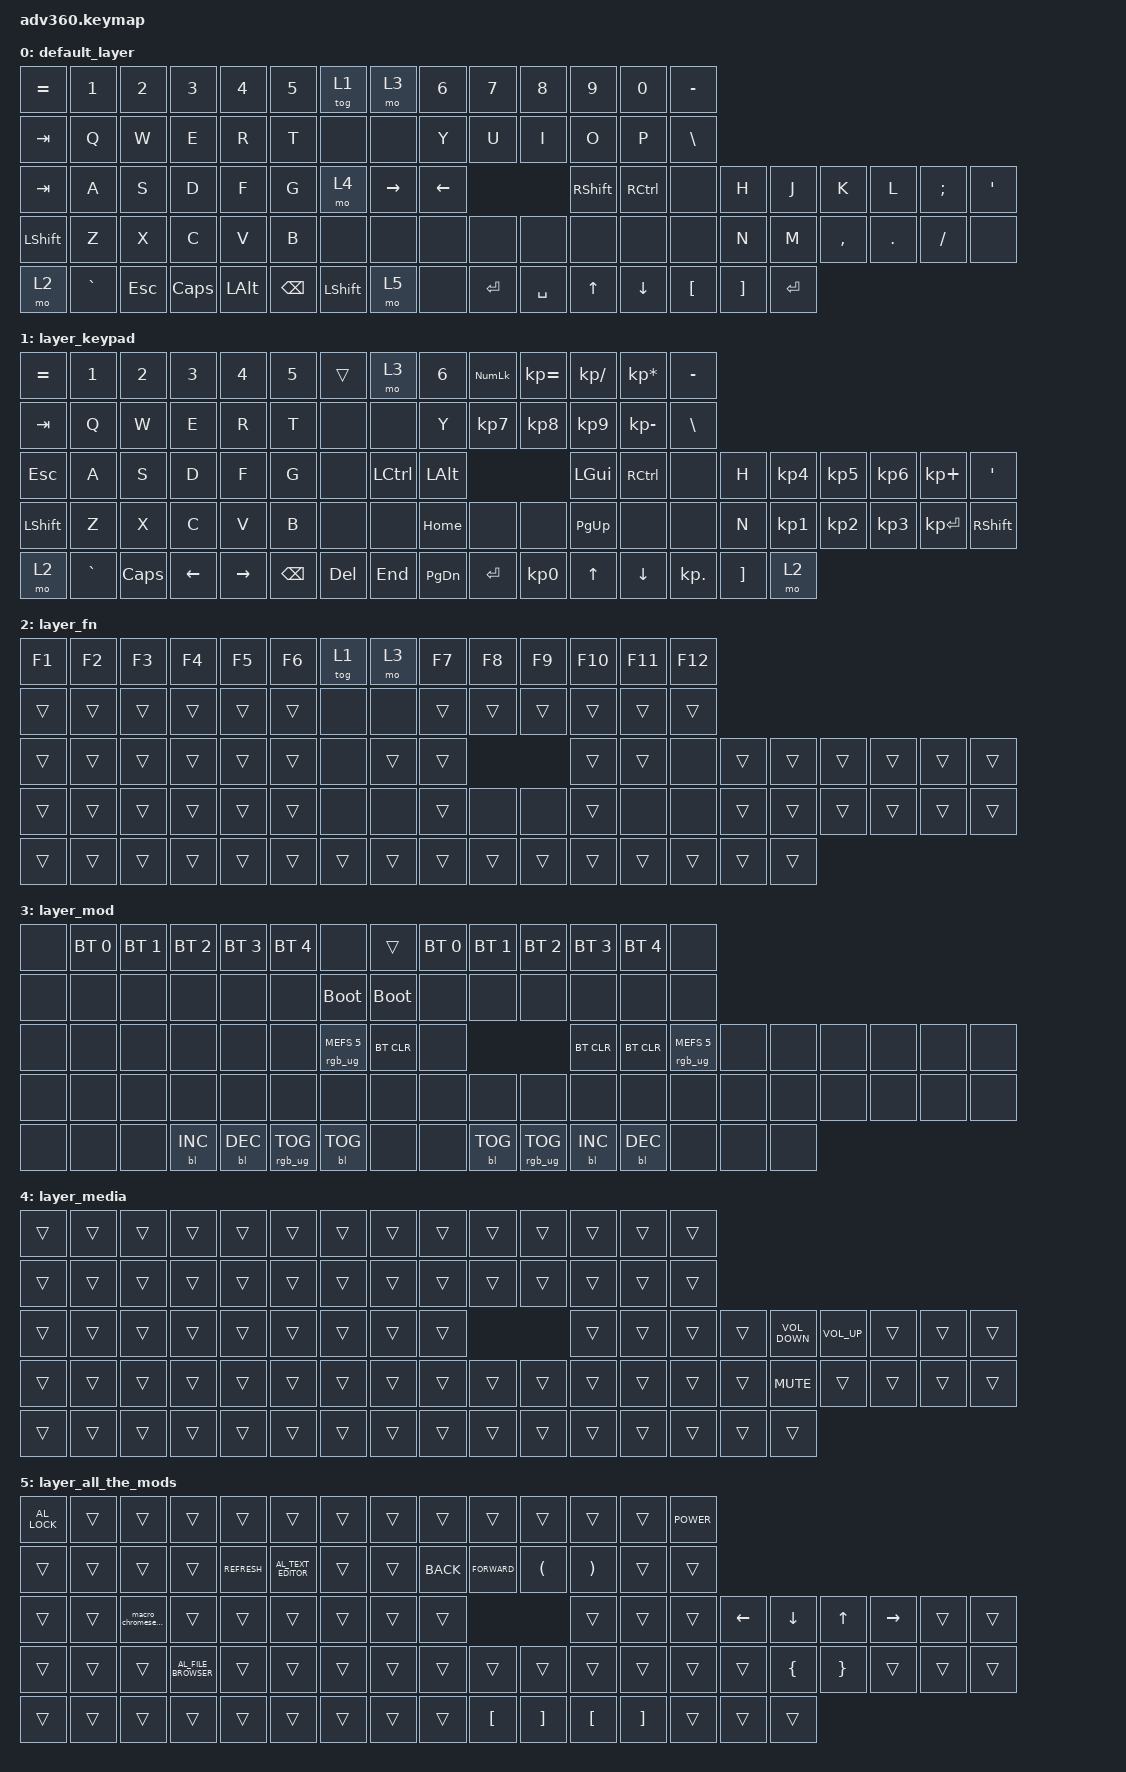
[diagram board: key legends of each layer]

/*
 * Copyright (c) 2020 The ZMK Contributors
 *
 * SPDX-License-Identifier: MIT
 */


/* THIS FILE WAS GENERATED!
 *
 * This file was generated automatically. You may or may not want to
 * edit it directly.
 */

#include <behaviors.dtsi>
#include <dt-bindings/zmk/keys.h>
#include <dt-bindings/zmk/bt.h>
#include <dt-bindings/zmk/rgb.h>
#include <dt-bindings/zmk/backlight.h>

/ {
  behaviors {
    #include "macros.dtsi"

    hm: homerow_mods {
        compatible = "zmk,behavior-hold-tap";
        label = "HOMEROW_MODS";
        #binding-cells = <2>;
        tapping-term-ms = <200>;
        quick_tap_ms = <175>;
        flavor = "tap-preferred";
        bindings = <&kp>, <&kp>;
    };
  };

    keymap {
        compatible = "zmk,keymap";


        default_layer {
            bindings = <
      &kp EQUAL     &kp N1   &kp N2        &kp N3        &kp N4    &kp N5                    &tog 1            &mo 3          &kp N6     &kp N7     &kp N8      &kp N9     &kp N0  &kp MINUS
        &kp TAB      &kp Q    &kp W         &kp E         &kp R     &kp T                     &none            &none           &kp Y      &kp U      &kp I       &kp O      &kp P   &kp BSLH
        &kp TAB      &kp A    &kp S         &kp D         &kp F     &kp G                     &mo 4  &kp RIGHT_ARROW  &kp LEFT_ARROW                        &kp RSHIFT  &kp RCTRL      &none     &kp H      &kp J      &kp K    &kp L  &kp SEMI  &kp SQT
 &kp LEFT_SHIFT      &kp Z    &kp X         &kp C         &kp V     &kp B                     &none            &none           &none      &none      &none       &none      &none      &none     &kp N      &kp M  &kp COMMA  &kp DOT  &kp FSLH    &none
          &mo 2  &kp GRAVE  &kp ESC  &kp CAPSLOCK  &kp LEFT_ALT  &kp BSPC            &kp LEFT_SHIFT            &mo 5           &none  &kp ENTER  &kp SPACE      &kp UP   &kp DOWN   &kp LBKT  &kp RBKT  &kp ENTER
            >;
        };

        layer_keypad {
            bindings = <
 &kp EQUAL     &kp N1    &kp N2    &kp N3     &kp N4    &kp N5             &trans      &mo 3     &kp N6  &kp KP_NUM  &kp KP_EQUAL  &kp KP_DIVIDE  &kp KP_MULTIPLY   &kp MINUS
   &kp TAB      &kp Q     &kp W     &kp E      &kp R     &kp T              &none      &none      &kp Y   &kp KP_N7     &kp KP_N8      &kp KP_N9     &kp KP_MINUS    &kp BSLH
   &kp ESC      &kp A     &kp S     &kp D      &kp F     &kp G              &none  &kp LCTRL   &kp LALT                                 &kp LGUI        &kp RCTRL       &none     &kp H  &kp KP_N4  &kp KP_N5  &kp KP_N6   &kp KP_PLUS    &kp SQT
 &kp LSHFT      &kp Z     &kp X     &kp C      &kp V     &kp B              &none      &none   &kp HOME       &none         &none      &kp PG_UP            &none       &none     &kp N  &kp KP_N1  &kp KP_N2  &kp KP_N3  &kp KP_ENTER  &kp RSHFT
     &mo 2  &kp GRAVE  &kp CAPS  &kp LEFT  &kp RIGHT  &kp BSPC            &kp DEL    &kp END  &kp PG_DN   &kp ENTER     &kp KP_N0         &kp UP         &kp DOWN  &kp KP_DOT  &kp RBKT      &mo 2
            >;
        };

        layer_fn {
            bindings = <
 &kp F1  &kp F2  &kp F3  &kp F4  &kp F5  &kp F6            &tog 1   &mo 3  &kp F7  &kp F8  &kp F9  &kp F10  &kp F11  &kp F12
 &trans  &trans  &trans  &trans  &trans  &trans             &none   &none  &trans  &trans  &trans   &trans   &trans   &trans
 &trans  &trans  &trans  &trans  &trans  &trans             &none  &trans  &trans                   &trans   &trans    &none  &trans  &trans  &trans  &trans  &trans  &trans
 &trans  &trans  &trans  &trans  &trans  &trans             &none   &none  &trans   &none   &none   &trans    &none    &none  &trans  &trans  &trans  &trans  &trans  &trans
 &trans  &trans  &trans  &trans  &trans  &trans            &trans  &trans  &trans  &trans  &trans   &trans   &trans   &trans  &trans  &trans
            >;
        };

        layer_mod {
            bindings = <
  &none  &bt BT_SEL 0  &bt BT_SEL 1  &bt BT_SEL 2  &bt BT_SEL 3     &bt BT_SEL 4                             &none       &trans  &bt BT_SEL 0  &bt BT_SEL 1     &bt BT_SEL 2  &bt BT_SEL 3  &bt BT_SEL 4                   &none
  &none         &none         &none         &none         &none            &none                       &bootloader  &bootloader         &none         &none            &none         &none         &none                   &none
  &none         &none         &none         &none         &none            &none            &rgb_ug RGB_MEFS_CMD 5   &bt BT_CLR         &none                                   &bt BT_CLR    &bt BT_CLR  &rgb_ug RGB_MEFS_CMD 5   &none   &none   &none   &none   &none   &none
  &none         &none         &none         &none         &none            &none                             &none        &none         &none         &none            &none         &none         &none                   &none   &none   &none   &none   &none   &none   &none
  &none         &none         &none    &bl BL_INC    &bl BL_DEC  &rgb_ug RGB_TOG                        &bl BL_TOG        &none         &none    &bl BL_TOG  &rgb_ug RGB_TOG    &bl BL_INC    &bl BL_DEC                   &none   &none   &none
            >;
        };

        layer_media {
            bindings = <
 &trans  &trans  &trans  &trans  &trans  &trans            &trans  &trans  &trans  &trans  &trans  &trans  &trans  &trans
 &trans  &trans  &trans  &trans  &trans  &trans            &trans  &trans  &trans  &trans  &trans  &trans  &trans  &trans
 &trans  &trans  &trans  &trans  &trans  &trans            &trans  &trans  &trans                  &trans  &trans  &trans  &trans  &kp C_VOLUME_DOWN  &kp C_VOLUME_UP  &trans  &trans  &trans
 &trans  &trans  &trans  &trans  &trans  &trans            &trans  &trans  &trans  &trans  &trans  &trans  &trans  &trans  &trans         &kp C_MUTE           &trans  &trans  &trans  &trans
 &trans  &trans  &trans  &trans  &trans  &trans            &trans  &trans  &trans  &trans  &trans  &trans  &trans  &trans  &trans             &trans
            >;
        };

        layer_all_the_mods {
            bindings = <
 &kp C_AL_LOCK  &trans                  &trans                 &trans         &trans                &trans            &trans  &trans      &trans            &trans                &trans                 &trans             &trans  &kp C_POWER
        &trans  &trans                  &trans                 &trans  &kp K_REFRESH  &kp C_AL_TEXT_EDITOR            &trans  &trans  &kp K_BACK     &kp K_FORWARD  &kp LEFT_PARENTHESIS  &kp RIGHT_PARENTHESIS             &trans       &trans
        &trans  &trans  &macro_chromesearchtab                 &trans         &trans                &trans            &trans  &trans      &trans                                                         &trans             &trans       &trans  &kp LEFT_ARROW  &kp DOWN_ARROW     &kp UP_ARROW  &kp RIGHT_ARROW  &trans  &trans
        &trans  &trans                  &trans  &kp C_AL_FILE_BROWSER         &trans                &trans            &trans  &trans      &trans            &trans                &trans                 &trans             &trans       &trans          &trans  &kp LEFT_BRACE  &kp RIGHT_BRACE           &trans  &trans  &trans
        &trans  &trans                  &trans                 &trans         &trans                &trans            &trans  &trans      &trans  &kp LEFT_BRACKET     &kp RIGHT_BRACKET       &kp LEFT_BRACKET  &kp RIGHT_BRACKET       &trans          &trans          &trans
            >;
        };

    };
};
